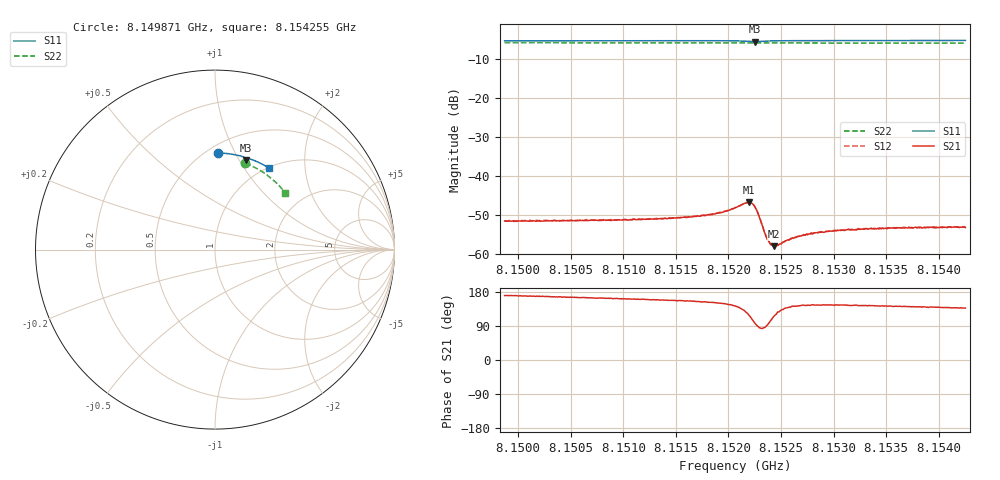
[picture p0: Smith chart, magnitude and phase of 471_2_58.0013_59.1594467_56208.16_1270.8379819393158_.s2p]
#  HZ  S  RI  R  50.00
! Rohde & Schwarz Vector Network Analyzer
! Rohde-Schwarz,ZNB20-2Port,1311601062101988,3.16
! Created: UTC 3/21/2024, 1:11:22 AM
! freq[Hz]  re:S11  im:S11  re:S21  im:S21  re:S12  im:S12  re:S22  im:S22
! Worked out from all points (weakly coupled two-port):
!   401 points, 8.149871 GHz to 8.154255 GHz, reference 50 ohm
!   highest |S21| = -46.76 dB at 8.152194 GHz (marker M1); lowest = -58.0 dB at 8.152435 GHz (marker M2)
!   lowest |S11| = -5.6 dB at 8.152249 GHz (marker M3), VSWR 3.22, Z = 38.7 + j53.2 ohm
!   |S11| at or under -10 dB: nowhere
!   |S22| runs from -6.0 to -5.9 dB; largest |S21 - S12| = 0.00012
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8.1498708e9  0.0148 0.5378  -0.0026 0.000459  -0.00263 0.000471  0.169 0.4809
8.150605e9  0.0659 0.5351  -0.00258 0.000704  -0.00259 0.000744  0.2123 0.4623
8.1513393e9  0.1169 0.5275  -0.00263 0.00104  -0.00263 0.00109  0.2535 0.4398
8.151701e9  0.1422 0.5215  -0.00273 0.00132  -0.00275 0.00136  0.2729 0.4273
8.1518435e9  0.1525 0.5185  -0.00282 0.00149  -0.00284 0.00157  0.2804 0.422
8.1519531e9  0.1607 0.5155  -0.00296 0.00177  -0.00297 0.00186  0.2862 0.4181
8.1520627e9  0.1691 0.511  -0.00309 0.00235  -0.00307 0.00242  0.2918 0.4139
8.1521613e9  0.1753 0.5033  -0.00274 0.00354  -0.00278 0.00358  0.2967 0.4099
8.1521942e9  0.1754 0.5  -0.0022 0.00403  -0.00217 0.00407  0.2983 0.4084
8.1522271e9  0.1734 0.4973  -0.00127 0.00423  -0.00125 0.00428  0.2998 0.4073
8.152249e9  0.1714 0.4971  -0.000592 0.00404  -0.000559 0.00404  0.3007 0.4064
8.1522819e9  0.1695 0.4995  0.000124 0.00328  0.000146 0.00332  0.3023 0.4053
8.1523367e9  0.1715 0.5043  0.000173 0.00199  0.000221 0.002  0.305 0.4034
8.1523695e9  0.1744 0.5059  -5.51e-05 0.00154  -2.22e-05 0.00158  0.3068 0.4022
8.1524024e9  0.1774 0.5067  -0.000323 0.00127  -0.000309 0.00129  0.3084 0.4009
8.1524353e9  0.1808 0.5069  -0.000556 0.00113  -0.000523 0.00115  0.31 0.3997
8.1524791e9  0.1846 0.5067  -0.000785 0.00106  -0.000792 0.00105  0.3121 0.3979
8.1526106e9  0.1951 0.5045  -0.00126 0.000987  -0.00124 0.00104  0.3188 0.3925
8.152797e9  0.2087 0.5003  -0.00148 0.00102  -0.00149 0.00106  0.3276 0.3847
8.1531257e9  0.2305 0.4914  -0.00167 0.00117  -0.00164 0.00119  0.3428 0.3706
8.1535312e9  0.2562 0.4793  -0.00171 0.0013  -0.00167 0.00134  0.3605 0.3522
8.1542546e9  0.2998 0.4546  -0.0016 0.00148  -0.0016 0.00154  0.3899 0.3177
